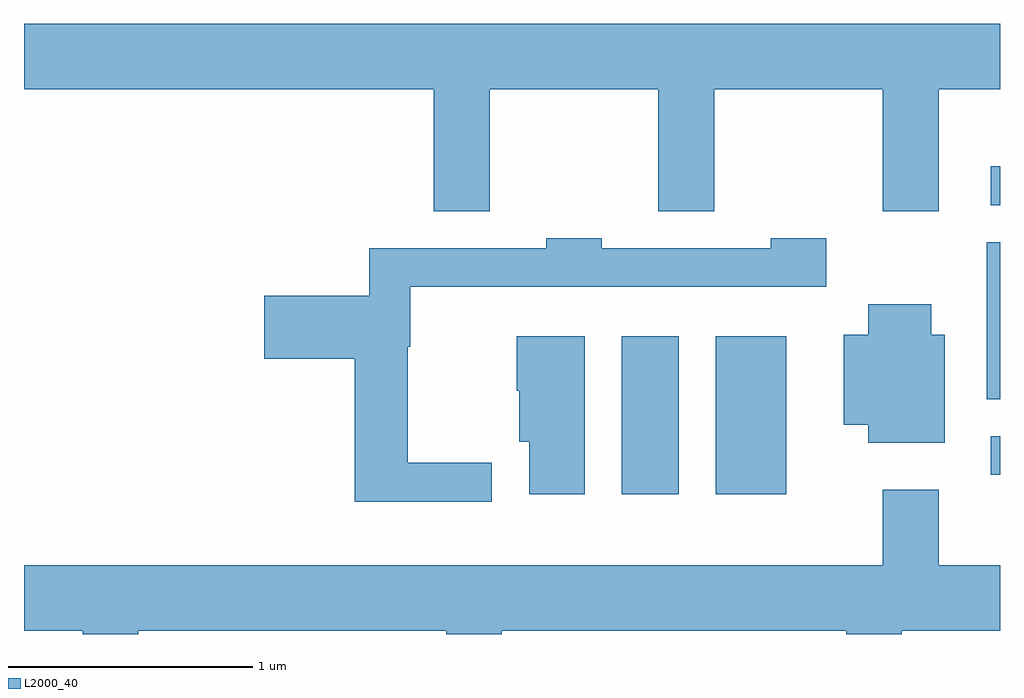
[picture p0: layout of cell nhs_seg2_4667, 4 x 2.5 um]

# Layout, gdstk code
import gdstk
lib = gdstk.Library(unit=1e-6, precision=1e-09)
def R(c, l, rs):  # rectangles x0, y0, x1, y1
    for r in rs: c.add(gdstk.rectangle(r[:2], r[2:], *l))
def P(c, l, *ps):  # polygons
    for p in ps: c.add(gdstk.Polygon(p, *l))
L2000_40 = (2000, 40)

nhs_seg2_4667 = lib.new_cell('nhs_seg2_4667')
R(nhs_seg2_4667, L2000_40, [(324.061,1104.376,324.294,1105.024), (324.446,1104.376,324.734,1105.024), (325.573,1104.456,325.611,1104.614), (325.556,1104.766,325.611,1105.409), (325.573,1105.561,325.611,1105.719)])
P(nhs_seg2_4667, L2000_40, [(323.519,1106.036),(324.211,1106.036),(324.211,1105.536),(324.439,1105.536),(324.439,1106.036),(325.131,1106.036),(325.131,1105.536),(325.359,1105.536),(325.359,1106.036),(325.611,1106.036),(325.611,1106.304),(321.611,1106.304),(321.611,1106.036),(323.291,1106.036),(323.291,1105.536),(323.519,1105.536)],
  [(323.528,1104.504),(323.184,1104.504),(323.184,1104.98),(323.194,1104.98),(323.194,1105.226),(324.899,1105.226),(324.899,1105.424),(324.671,1105.424),(324.671,1105.384),(323.979,1105.384),(323.979,1105.424),(323.751,1105.424),(323.751,1105.384),(323.026,1105.384),(323.026,1105.189),(322.596,1105.189),(322.596,1104.931),(322.966,1104.931),(322.966,1104.346),(323.528,1104.346)],
  [(325.384,1105.029),(325.329,1105.029),(325.329,1105.154),(325.071,1105.154),(325.071,1105.029),(324.971,1105.029),(324.971,1104.661),(325.071,1104.661),(325.071,1104.586),(325.384,1104.586)],
  [(323.909,1105.024),(323.631,1105.024),(323.631,1104.8),(323.641,1104.8),(323.641,1104.591),(323.681,1104.591),(323.681,1104.376),(323.909,1104.376)],
  [(322.079,1103.816),(323.341,1103.816),(323.341,1103.802),(323.569,1103.802),(323.569,1103.816),(324.981,1103.816),(324.981,1103.802),(325.209,1103.802),(325.209,1103.816),(325.611,1103.816),(325.611,1104.084),(325.359,1104.084),(325.359,1104.394),(325.131,1104.394),(325.131,1104.084),(321.611,1104.084),(321.611,1103.816),(321.851,1103.816),(321.851,1103.802),(322.079,1103.802)])

lib.write_gds('nhs_seg2_4667.gds')
